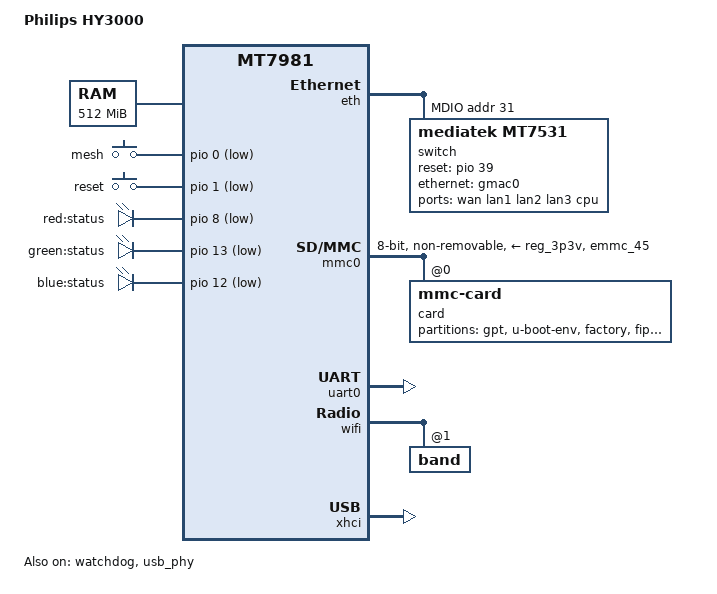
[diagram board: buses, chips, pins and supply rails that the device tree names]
// SPDX-License-Identifier: GPL-2.0-or-later OR MIT

/dts-v1/;
#include <dt-bindings/gpio/gpio.h>
#include <dt-bindings/input/input.h>
#include <dt-bindings/leds/common.h>

#include "mt7981.dtsi"

/ {
	model = "Philips HY3000";
	compatible = "ph,hy3000-emmc", "mediatek,mt7981";

	aliases {
		serial0 = &uart0;
		led-boot = &status_red_led;
		led-failsafe = &status_red_led;
		led-running = &status_green_led;
		led-upgrade = &status_red_led;
	};

	chosen {
		bootargs = "root=PARTLABEL=rootfs rootwait";
		stdout-path = "serial0:115200n8";
	};

	memory@40000000 {
		reg = <0 0x40000000 0 0x20000000>;
	};

	gpio-keys {
		compatible = "gpio-keys";

		button-mesh {
			label = "mesh";
			linux,code = <BTN_9>;
			linux,input-type = <EV_SW>;
			gpios = <&pio 0 GPIO_ACTIVE_LOW>;
		};

		button-reset {
			label = "reset";
			linux,code = <KEY_RESTART>;
			gpios = <&pio 1 GPIO_ACTIVE_LOW>;
		};
	};

	gpio-leds {
		compatible = "gpio-leds";

                status_red_led: led-0 {
                        label = "red:status";
                        gpios = <&pio 8 GPIO_ACTIVE_LOW>;
                };

                status_green_led: led-1 {
                        label = "green:status";
                        gpios = <&pio 13 GPIO_ACTIVE_LOW>;
                };

                status_blue_led: led-2 {
                        label = "blue:status";
                        gpios = <&pio 12 GPIO_ACTIVE_LOW>;
		};
	};
};

&eth {
	status = "okay";

	gmac0: mac@0 {
		compatible = "mediatek,eth-mac";
		reg = <0>;
		phy-mode = "2500base-x";

		fixed-link {
			speed = <2500>;
			full-duplex;
			pause;
		};
	};
	
	gmac1: mac@1 {
		compatible = "mediatek,eth-mac";
		reg = <1>;
		phy-mode = "2500base-x";

		fixed-link {
			speed = <2500>;
			full-duplex;
			pause;
		};
	};



	mdio: mdio-bus {
		#address-cells = <1>;
		#size-cells = <0>;


		switch@0 {
			compatible = "mediatek,mt7531";
			reg = <31>;
			reset-gpios = <&pio 39 0>;

			ports {
				#address-cells = <1>;
				#size-cells = <0>;

				port@0 {
					reg = <0>;
					label = "wan";
				};

				port@1 {
					reg = <1>;
					label = "lan1";
				};

				port@2 {
					reg = <2>;
					label = "lan2";
				};

				port@3 {
					reg = <3>;
					label = "lan3";
				};
				
				port@6 {
					reg = <6>;
					label = "cpu";
					ethernet = <&gmac0>;
					phy-mode = "2500base-x";

					fixed-link {
						speed = <2500>;
						full-duplex;
						pause;
					};
				};
			};
		};
	};
};
&mmc0 {
	bus-width = <8>;
	cap-mmc-highspeed;
	max-frequency = <52000000>;
	no-sd;
	no-sdio;
	non-removable;
	pinctrl-names = "default", "state_uhs";
	pinctrl-0 = <&mmc0_pins_default>;
	pinctrl-1 = <&mmc0_pins_uhs>;
	vmmc-supply = <&reg_3p3v>;
	status = "okay";

	card@0 {
		compatible = "mmc-card";
		reg = <0>;

		block {
			compatible = "block-device";

			// 设置为 64 位寻址，因为分区大小和偏移量超过 4GB
			partitions {
				#address-cells = <2>;
				#size-cells = <2>;

				// 1. p1: gpt (0x0 to 0x4745)
				partition@1 {
					label = "gpt";
					reg = <0x0 0x0 0x0 0x4745>;
				};

				// 2. p2: u-boot-env (0x431aa0 to 0x4b8106)
				partition@2 {
					label = "u-boot-env";
					reg = <0x0 0x431aa0 0x0 0x86666>;
				};

				// 3. p3: factory (0x4b8106 to 0x6d0e56) - 包含 nvmem-layout
				block_partition_factory: partition@3 {
					label = "factory";
					reg = <0x0 0x4b8106 0x0 0x218d50>;

					nvmem-layout {
						compatible = "fixed-layout";
						#address-cells = <1>;
						#size-cells = <1>;

						eeprom_factory_0: eeprom@0 {
							reg = <0x0 0x1000>;
						};

						macaddr_factory_4: macaddr@4 {
							compatible = "mac-base";
							reg = <0x4 0x6>;
							#nvmem-cell-cells = <1>;
						};
					};
				};

				// 4. p4: fip (0x6d0e56 to 0x8e9ba6)
				partition@4 {
					label = "fip";
					reg = <0x0 0x6d0e56 0x0 0x218d50>;
				};

				// 5. p5: kernel (0x8e9ba6 to 0x2a80000)
				partition@5 {
					label = "kernel";
					reg = <0x0 0x8e9ba6 0x0 0x219645a>;
				};

				// 6. p6: rootfs (OpenWrt /rom) - 关键 (0x2a80000 to 0x23700000)
				partition@6 {
					label = "rootfs";
					reg = <0x0 0x2a80000 0x0 0x20c80000>;
					compatible = "denx,uimage";
				};

				// 7. p7: recovery (0x23700000 to 0x24200000)
				partition@7 {
					label = "recovery";
					reg = <0x0 0x23700000 0x0 0xb00000>;
				};

				// 8. p8: rootfs_data (OpenWrt /overlay) - 最关键! (0x24200000 to 0x130900000)
				partition@8 {
					label = "rootfs_data";
					// 0x0 0x24200000 (Start Hi/Lo) | 0x1 0xc700000 (Size Hi/Lo)
					reg = <0x0 0x24200000 0x1 0xc700000>;
				};

				// 9. p9: data1 (0x130900000 to 0x1e7800000)
				partition@9 {
					label = "data1";
					// 0x1 0x30900000 (Start Hi/Lo) | 0x1c 0xd6f00000 (Size Hi/Lo)
					reg = <0x1 0x30900000 0x1c 0xd6f00000>;
				};

				// 10. p10: data2 (0x1e7800000 to 0x1e8280000)
				partition@10 {
					label = "data2";
					// 0x1e 0x7800000 (Start Hi/Lo) | 0x0 0xa80000 (Size Hi/Lo)
					reg = <0x1e 0x7800000 0x0 0xa80000>;
				};

				// 11. p11: swap (0x1e8280000 to 0x1e8280000 + 0x80f00000)
				partition@11 {
					label = "swap";
					// 0x1e 0x8280000 (Start Hi/Lo) | 0x0 0x80f00000 (Size Hi/Lo)
					reg = <0x1e 0x8280000 0x0 0x80f00000>;
				};
			};
		};
	};
};

&pio {
	mmc0_pins_default: mmc0-pins-default {
		mux {
			function = "flash";
			groups = "emmc_45";
		};
	};

	mmc0_pins_uhs: mmc0-pins-uhs {
		mux {
			function = "flash";
			groups = "emmc_45";
		};
	};
};

&uart0 {
	status = "okay";
};

&watchdog {
	status = "okay";
};

&wifi {
	nvmem-cells = <&eeprom_factory_0>;
	nvmem-cell-names = "eeprom";
	status = "okay";

	band@1 {
		reg = <1>;
		nvmem-cells = <&macaddr_factory_4 1>;
		nvmem-cell-names = "mac-address";
	};
};

&usb_phy {
	status = "okay";
};

&xhci {
	status = "okay";
};
